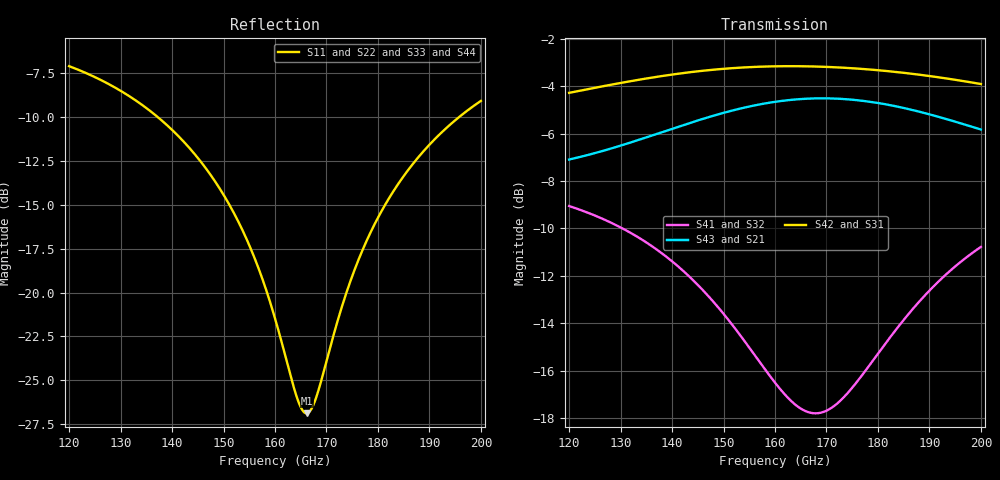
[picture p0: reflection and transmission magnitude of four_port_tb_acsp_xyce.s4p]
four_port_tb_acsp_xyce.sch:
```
v {xschem version=3.4.8RC file_version=1.3}
G {}
K {}
V {}
S {}
F {}
E {}
T {SPDX-FileCopyrightText: 2026 Simon Dorrer
SPDX-License-Identifier: Apache-2.0
} 2750 -140 0 0 0.4 0.4 {}
T {Xyce Testbench for AC S-parameter analysis - Four-Port} 870 -2390 0 0 1 1 {}
N 1800 -2100 1800 -2060 {lab=v3}
N 1720 -2100 1800 -2100 {lab=v3}
N 1800 -2000 1800 -1960 {lab=GND}
N 1800 -2100 1840 -2100 {lab=v3}
N 2000 -2000 2000 -1960 {lab=GND}
N 2000 -2180 2040 -2180 {lab=v4}
N 2000 -2180 2000 -2060 {lab=v4}
N 1720 -2180 2000 -2180 {lab=v4}
N 1440 -2100 1520 -2100 {lab=v2}
N 1440 -2000 1440 -1960 {lab=GND}
N 1440 -2100 1440 -2060 {lab=v2}
N 1400 -2100 1440 -2100 {lab=v2}
N 1240 -2000 1240 -1960 {lab=GND}
N 1200 -2180 1240 -2180 {lab=v1}
N 1240 -2180 1240 -2060 {lab=v1}
N 1240 -2180 1520 -2180 {lab=v1}
C {devices/code_shown.sym} 80 -2130 0 0 {name=XYCE
only_toplevel=true
lock=false
value="
.include ../../../netlist/xyce/four_port.cir
.include ../sim_range.cir

* User Constants
* f_min / f_max come from ../sim_range.cir (.param),
* auto-synced by snp2le to the band it fitted.
* edit that file for a standalone run.

* Xschem's ground symbol netlists node GND, which Xyce takes as ground only with this.
.PREPROCESS REPLACEGROUND TRUE

* AC S-Parameter Analysis
* Xyce writes S-parameters only as a Touchstone file, which snp2le imports.
.AC LIN 1001 \{f_min\} \{f_max\}
.LIN SPARCALC=1 FORMAT=TOUCHSTONE2 DATAFORMAT=RI FILE=../plot_simulations/data/@schname\\\\.s4p
"}
C {title-2.sym} 0 0 0 0 {name=l2 author="Simon Dorrer" rev=1.0 lock=true}
C {lab_pin.sym} 1840 -2100 0 1 {name=p3 sig_type=std_logic lab=v3}
C {devices/lab_pin.sym} 1400 -2100 0 0 {name=l19 sig_type=std_logic lab=v2
}
C {devices/gnd.sym} 1440 -1960 0 0 {name=l39 lab=GND}
C {devices/vsource.sym} 1440 -2030 0 1 {name=P2 value="port=2 z0=50"
}
C {devices/gnd.sym} 1800 -1960 0 0 {name=l3 lab=GND}
C {devices/launcher.sym} 2600 -2120 0 0 {name=h2
descr="Simulate Xyce"
tclcommand="
# Setup the default simulation commands if not already set up
# for example by already launched simulations.
set_sim_defaults

# change the simulator to be used (#3 in spice category is Xyce batch)
set sim(spice,default) 3
xschem set netlist_type spice

# run netlist and simulation
xschem netlist
simulate
"}
C {devices/vsource.sym} 1800 -2030 0 0 {name=P3 value="port=3 z0=50"
}
C {lab_pin.sym} 2040 -2180 0 1 {name=p1 sig_type=std_logic lab=v4}
C {devices/gnd.sym} 2000 -1960 0 0 {name=l1 lab=GND}
C {devices/vsource.sym} 2000 -2030 0 0 {name=P4 value="port=4 z0=50"
}
C {four_port.sym} 1620 -2140 0 0 {name=x1}
C {lab_pin.sym} 1200 -2180 0 0 {name=p2 sig_type=std_logic lab=v1}
C {devices/gnd.sym} 1240 -1960 0 1 {name=l4 lab=GND}
C {devices/vsource.sym} 1240 -2030 0 1 {name=P1 value="port=1 z0=50"
}
```
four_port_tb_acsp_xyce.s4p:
[Version] 2.0
# Hz S RI R 50
[Number of Ports] 4
[Reference] 50 50 50 50
!  Freq  ReS11  ImS11  ReS12  ImS12  ReS13  ImS13  ReS14  ImS14  ReS21  ImS21  ReS22  ImS22  ReS23  ImS23  ReS24  ImS24  ReS31  ImS31  ReS32  ImS32  ReS33  ImS33  ReS34  ImS34  ReS41  ImS41  ReS42  ImS42  ReS43  ImS43  ReS44  ImS44
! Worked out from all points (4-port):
!   1001 points, 120 GHz to 200 GHz, reference 50 ohm
!   strongest paths, dB at 120 GHz, 140 GHz, 160 GHz, 180 GHz, 200 GHz:
!     S42: -4.3, -3.5, -3.2, -3.3, -3.9
!     S31: -4.3, -3.5, -3.2, -3.3, -3.9
!     S43: -7.1, -5.8, -4.7, -4.7, -5.8
!     S21: -7.1, -5.8, -4.7, -4.7, -5.8
!     S41: -9.1, -11.4, -16.5, -15.3, -10.8
!     S32: -9.0, -11.4, -16.5, -15.3, -10.8
!   lowest |S11| = -26.9 dB at 166.2 GHz (marker M1), VSWR 1.09, Z = 54.7 - j0.664 ohm
!   |S11| at or under -10 dB: 137.3 GHz to 195.7 GHz (58.47 GHz wide, 35.1 % of centre)
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[Number of Frequencies] 3
[Network Data]
1.2e11  -0.2644 0.3544  0.211 -0.3883  -0.3303 -0.5141  -0.0314 -0.3512
        0.211 -0.3883  -0.2646 0.354  -0.0313 -0.3515  -0.3303 -0.5141
        -0.3303 -0.5141  -0.0313 -0.3515  -0.2647 0.3538  0.211 -0.3884
        -0.0314 -0.3512  -0.3303 -0.5141  0.211 -0.3884  -0.2645 0.3542
1.6616e11  0.0448 -0.00606  -0.0717 -0.5896  -0.6914 0.072  -0.0224 -0.128
           -0.0717 -0.5896  0.0446 -0.00659  -0.0228 -0.128  -0.6913 0.0721
           -0.6914 0.072  -0.0228 -0.128  0.0444 -0.00644  -0.0717 -0.5896
           -0.0224 -0.128  -0.6913 0.0721  -0.0717 -0.5896  0.0446 -0.00621
2e11  -0.2045 -0.2865  -0.3289 -0.3916  -0.3848 0.5088  0.0455 -0.2855
      -0.3289 -0.3916  -0.2048 -0.287  0.0454 -0.2851  -0.3847 0.5088
      -0.3848 0.5088  0.0454 -0.2851  -0.2047 -0.2868  -0.3289 -0.3916
      0.0455 -0.2855  -0.3847 0.5088  -0.3289 -0.3916  -0.2048 -0.2865
[End]
